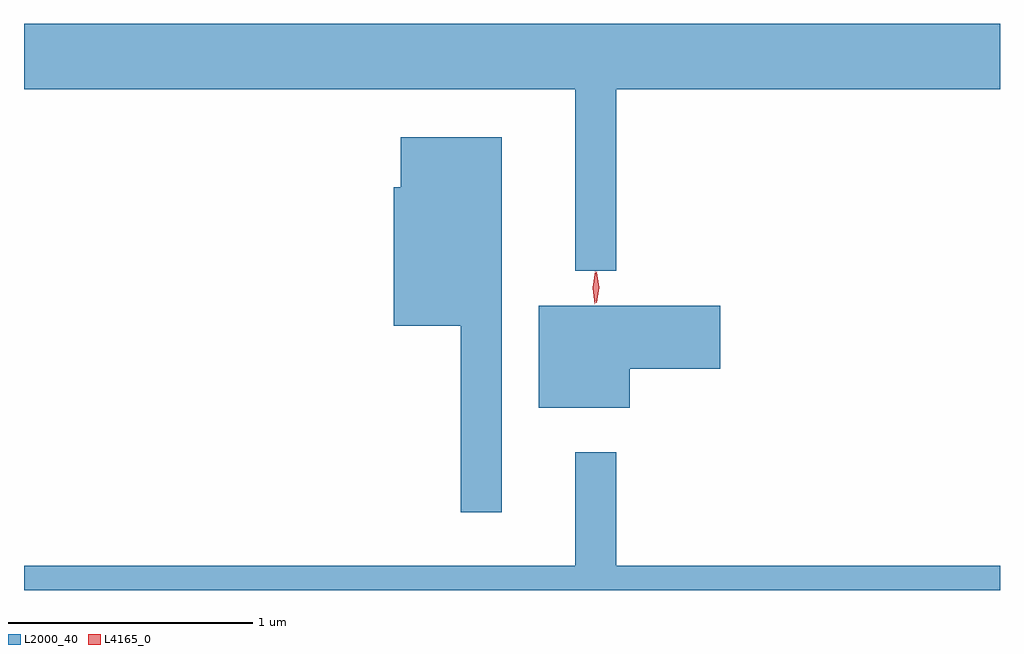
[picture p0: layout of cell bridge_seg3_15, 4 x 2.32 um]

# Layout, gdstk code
import gdstk
lib = gdstk.Library(unit=1e-6, precision=1e-09)
def P(c, l, *ps):  # polygons
    for p in ps: c.add(gdstk.Polygon(p, *l))
L2000_40 = (2000, 40)
L4165_0 = (4165, 0)

bridge_seg3_15 = lib.new_cell('bridge_seg3_15')
P(bridge_seg3_15, L2000_40, [(1683.229,1208.156),(1684.801,1208.156),(1684.801,1208.424),(1680.801,1208.424),(1680.801,1208.156),(1683.061,1208.156),(1683.061,1207.413),(1683.229,1207.413)],
  [(1682.759,1207.959),(1682.346,1207.959),(1682.346,1207.754),(1682.316,1207.754),(1682.316,1207.186),(1682.591,1207.186),(1682.591,1206.423),(1682.759,1206.423)],
  [(1683.284,1207.011),(1683.654,1207.011),(1683.654,1207.269),(1682.911,1207.269),(1682.911,1206.851),(1683.284,1206.851)],
  [(1684.801,1206.204),(1683.229,1206.204),(1683.229,1206.668),(1683.061,1206.668),(1683.061,1206.204),(1680.801,1206.204),(1680.801,1206.103),(1684.801,1206.103)])
P(bridge_seg3_15, L4165_0, [(1683.147,1207.28),(1683.138,1207.343),(1683.147,1207.406),(1683.148,1207.407),(1683.148,1207.406),(1683.158,1207.343),(1683.148,1207.28),(1683.148,1207.28)],
  [(1683.14,1207.274),(1683.132,1207.342),(1683.142,1207.41),(1683.142,1207.41),(1683.143,1207.41),(1683.152,1207.342),(1683.141,1207.274),(1683.141,1207.274)])

lib.write_gds('bridge_seg3_15.gds')
